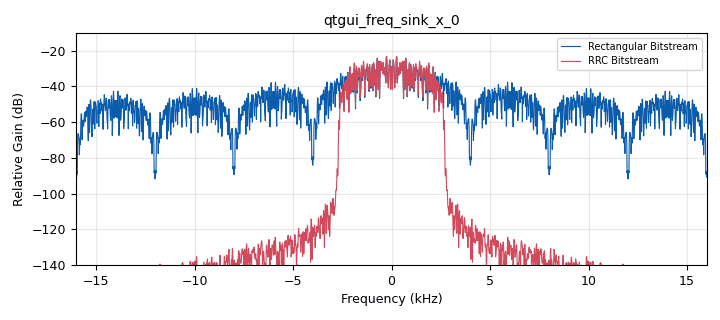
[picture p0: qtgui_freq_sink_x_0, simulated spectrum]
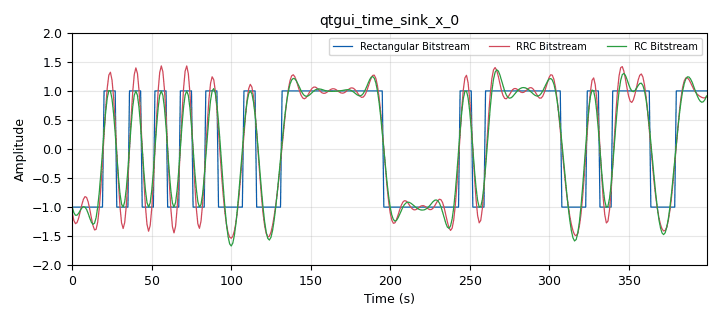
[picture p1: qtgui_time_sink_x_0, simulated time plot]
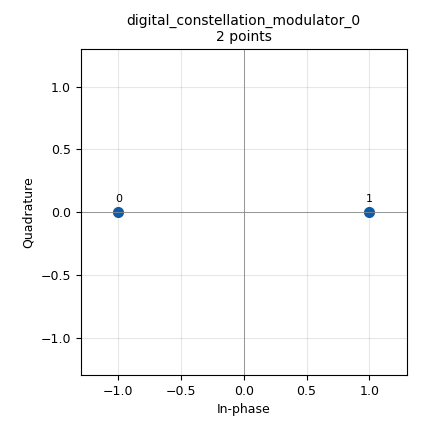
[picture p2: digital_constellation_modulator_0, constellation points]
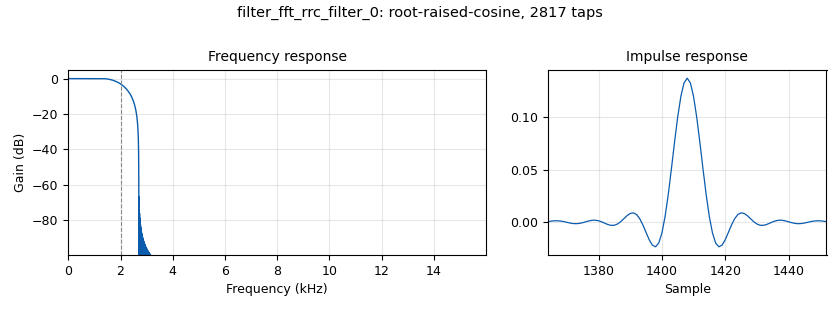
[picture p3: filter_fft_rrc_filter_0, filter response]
options:
  parameters:
    author: Gary Schafer
    generate_options: qt_gui
    id: rrc_time_domain_example
    output_language: python
    title: Example of Filtered and Unfiltered RRC Bitstream
  states: {}

blocks:
- name: bitDelay
  id: variable_qtgui_range
  parameters:
    gui_hint: 0,0,1,10
    label: Bit Delay
    rangeType: int
    start: '0'
    step: '1'
    stop: '3000'
    value: '1756'
  states: {}
- name: bpsk
  id: variable_constellation
  parameters:
    precision: '8'
    type: bpsk
  states: {}
- name: rrcDelay
  id: variable_qtgui_range
  parameters:
    gui_hint: 0,10,1,10
    label: RRC Delay
    rangeType: int
    start: '0'
    step: '1'
    stop: '3000'
    value: '1408'
  states: {}
- name: samp_rate
  id: variable
  parameters:
    value: '32000'
  states: {}
- name: analog_random_uniform_source_x_0
  id: analog_random_uniform_source_x
  parameters:
    maximum: '255'
    minimum: '0'
    seed: '0'
    type: byte
  states: {}
- name: blocks_add_const_vxx_0
  id: blocks_add_const_vxx
  parameters:
    const: '-0.5'
    type: float
  states: {}
- name: blocks_complex_to_real_0
  id: blocks_complex_to_real
  parameters: {}
  states: {}
- name: blocks_delay_0
  id: blocks_delay
  parameters:
    delay: bitDelay
    type: float
  states: {}
- name: blocks_delay_0_0
  id: blocks_delay
  parameters:
    delay: rrcDelay
    type: float
  states: {}
- name: blocks_multiply_const_vxx_0
  id: blocks_multiply_const_vxx
  parameters:
    const: '2'
    type: float
  states: {}
- name: blocks_repeat_0
  id: blocks_repeat
  parameters:
    interp: '8'
    type: byte
  states: {}
- name: blocks_throttle_0
  id: blocks_throttle
  parameters:
    samples_per_second: samp_rate
    type: byte
  states: {}
- name: blocks_uchar_to_float_0
  id: blocks_uchar_to_float
  parameters: {}
  states: {}
- name: blocks_unpack_k_bits_bb_0
  id: blocks_unpack_k_bits_bb
  parameters:
    k: '8'
  states: {}
- name: digital_constellation_modulator_0
  id: digital_constellation_modulator
  parameters:
    constellation: bpsk
    differential: 'False'
    excess_bw: '0.35'
    samples_per_symbol: '8'
  states: {}
- name: filter_fft_rrc_filter_0
  id: filter_fft_rrc_filter
  parameters:
    alpha: '0.35'
    decim: '1'
    gain: '1'
    ntaps: 11*8*32
    samp_rate: samp_rate
    sym_rate: samp_rate/8
    type: fff
  states: {}
- name: myTabs
  id: qtgui_tab_widget
  parameters:
    gui_hint: 1,0,20,20
    label0: Spectrum
    label1: Time Domain
    num_tabs: '2'
  states: {}
- name: qtgui_freq_sink_x_0
  id: qtgui_freq_sink_x
  parameters:
    bw: samp_rate
    fc: '0'
    fftsize: '2048'
    gui_hint: myTabs@0
    label1: Rectangular Bitstream
    label2: RRC Bitstream
    nconnections: '2'
    type: float
    ymax: '-10'
  states: {}
- name: qtgui_time_sink_x_0
  id: qtgui_time_sink_x
  parameters:
    gui_hint: myTabs@1
    label1: Rectangular Bitstream
    label2: RRC Bitstream
    label3: RC Bitstream
    nconnections: '3'
    size: '400'
    srate: '1'
    type: float
    ymax: '2'
    ymin: '-2'
  states: {}

connections:
- [analog_random_uniform_source_x_0, '0', blocks_throttle_0, '0']
- [blocks_add_const_vxx_0, '0', blocks_multiply_const_vxx_0, '0']
- [blocks_complex_to_real_0, '0', blocks_delay_0_0, '0']
- [blocks_complex_to_real_0, '0', filter_fft_rrc_filter_0, '0']
- [blocks_delay_0, '0', blocks_add_const_vxx_0, '0']
- [blocks_delay_0_0, '0', qtgui_freq_sink_x_0, '1']
- [blocks_delay_0_0, '0', qtgui_time_sink_x_0, '1']
- [blocks_multiply_const_vxx_0, '0', qtgui_freq_sink_x_0, '0']
- [blocks_multiply_const_vxx_0, '0', qtgui_time_sink_x_0, '0']
- [blocks_repeat_0, '0', blocks_uchar_to_float_0, '0']
- [blocks_throttle_0, '0', blocks_unpack_k_bits_bb_0, '0']
- [blocks_throttle_0, '0', digital_constellation_modulator_0, '0']
- [blocks_uchar_to_float_0, '0', blocks_delay_0, '0']
- [blocks_unpack_k_bits_bb_0, '0', blocks_repeat_0, '0']
- [digital_constellation_modulator_0, '0', blocks_complex_to_real_0, '0']
- [filter_fft_rrc_filter_0, '0', qtgui_time_sink_x_0, '2']

metadata:
  file_format: 1
